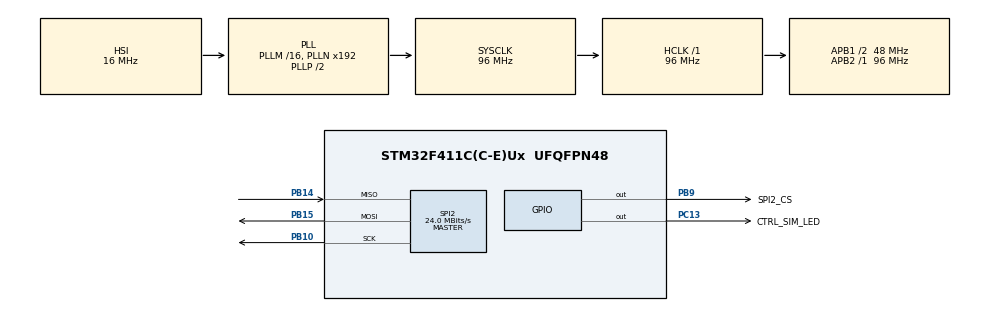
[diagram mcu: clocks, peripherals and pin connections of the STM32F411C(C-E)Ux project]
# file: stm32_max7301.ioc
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Mcu.Family=STM32F4
Mcu.Name=STM32F411C(C-E)Ux
Mcu.Package=UFQFPN48
NVIC.PriorityGroup=NVIC_PRIORITYGROUP_4
PA13.Mode=Serial_Wire
PA13.Signal=SYS_JTMS-SWDIO
PA14.Mode=Serial_Wire
PA14.Signal=SYS_JTCK-SWCLK
PB10.Mode=Full_Duplex_Master
PB10.Signal=SPI2_SCK
PB14.Mode=Full_Duplex_Master
PB14.Signal=SPI2_MISO
PB15.Mode=Full_Duplex_Master
PB15.Signal=SPI2_MOSI
PB9.GPIO_Label=SPI2_CS
PB9.GPIO_PuPd=GPIO_PULLUP
PB9.PinState=GPIO_PIN_SET
PB9.Signal=GPIO_Output
PC13-ANTI_TAMP.GPIO_Label=CTRL_SIM_LED
PC13-ANTI_TAMP.Signal=GPIO_Output
PC14-OSC32_IN.Mode=LSE-External-Oscillator
PC14-OSC32_IN.Signal=RCC_OSC32_IN
PC15-OSC32_OUT.Mode=LSE-External-Oscillator
PC15-OSC32_OUT.Signal=RCC_OSC32_OUT
PH0\ -\ OSC_IN.Mode=HSE-External-Oscillator
PH0\ -\ OSC_IN.Signal=RCC_OSC_IN
PH1\ -\ OSC_OUT.Mode=HSE-External-Oscillator
PH1\ -\ OSC_OUT.Signal=RCC_OSC_OUT
ProjectManager.HeapSize=0x200
ProjectManager.StackSize=0x400
ProjectManager.TargetToolchain=EWARM V8.50
RCC.AHBFreq_Value=96000000
RCC.APB1CLKDivider=RCC_HCLK_DIV2
RCC.APB1Freq_Value=48000000
RCC.APB1TimFreq_Value=96000000
RCC.APB2Freq_Value=96000000
RCC.APB2TimFreq_Value=96000000
RCC.CortexFreq_Value=96000000
RCC.HCLKFreq_Value=96000000
RCC.HSE_VALUE=25000000
RCC.HSI_VALUE=16000000
RCC.SYSCLKFreq_VALUE=96000000
RCC.SYSCLKSource=RCC_SYSCLKSOURCE_PLLCLK
RCC.VCOOutputFreq_Value=192000000
SPI2.BaudRatePrescaler=SPI_BAUDRATEPRESCALER_2
SPI2.CLKPolarity=SPI_POLARITY_LOW
SPI2.CalculateBaudRate=24.0 MBits/s
SPI2.Direction=SPI_DIRECTION_2LINES
SPI2.Mode=SPI_MODE_MASTER
SPI2.VirtualType=VM_MASTER
board=custom

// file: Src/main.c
/* USER CODE BEGIN Header */
/**
  ******************************************************************************
  * @file           : main.c
  * @brief          : Main program body
  ******************************************************************************
  * @attention
  *
  * Copyright (c) 2022 STMicroelectronics.
  * All rights reserved.
  *
  * This software is licensed under terms that can be found in the LICENSE file
  * in the root directory of this software component.
  * If no LICENSE file comes with this software, it is provided AS-IS.
  *
  ******************************************************************************
  */
/* USER CODE END Header */
#include "main.h"
#include "spi.h"
#include "gpio.h"

/* USER CODE BEGIN Includes */
#include "max7301.h"

/* USER CODE END Includes */

/* USER CODE BEGIN PV */
extern SPI_HandleTypeDef hspi2;

MAX7301_Handle_t max7301Handle =
{
  .spiHandle = &hspi2,
  .csPin = (uint32_t)SPI2_CS_Pin,
  .csPort = SPI2_CS_GPIO_Port
};
/* USER CODE END PV */

void SystemClock_Config(void);

  int main(void)
{
  /* USER CODE BEGIN 1 */
  uint8_t val, i;

  /* USER CODE END 1 */

  /* MCU Configuration--------------------------------------------------------*/

  /* Reset of all peripherals, Initializes the Flash interface and the Systick. */
  HAL_Init();

  /* Configure the system clock */
  SystemClock_Config();

  /* Initialize all configured peripherals */
  MX_GPIO_Init();
  MX_SPI2_Init();
  /* USER CODE BEGIN 2 */

  MAX7301_Init(&max7301Handle, 0);

  if(MAX7301_enable(&max7301Handle))
  {
    Error_Handler();
  }

   for(i = 4; i < 32; i++)
  {
    if( MAX7301_digitalRead(&max7301Handle, i, &val))
    {
      Error_Handler();
    }
  }

  for(i = 4; i < 32; i++)
  {
    if(MAX7301_setPinMode(&max7301Handle, i, MAX7301_GPIO_OUTPUT))
    {
      Error_Handler();
    }
  }

  for(i = 4; i < 32; i++)
  {
    if(MAX7301_getPinMode(&max7301Handle, i, &val))
    {
      Error_Handler();
    }
    if(val != MAX7301_GPIO_OUTPUT)
    {
      Error_Handler();
    }
  }

  for(i = 4; i < 32; i++)
  {
    if( MAX7301_digitalRead(&max7301Handle, i, &val))
    {
      Error_Handler();
    }
  }

  for(i = 4; i < 32; i++)
  {
    if( MAX7301_digitalWrite(&max7301Handle, i, MAX7301_GPIO_HIGH))
    {
      Error_Handler();
    }
    if( MAX7301_digitalRead(&max7301Handle, i, &val))
    {
      Error_Handler();
    }
    if(val != MAX7301_GPIO_HIGH)
    {
      Error_Handler();
    }
  }

  for(i = 4; i < 32; i++)
  {
    if( MAX7301_digitalWrite(&max7301Handle, i, MAX7301_GPIO_LOW))
    {
      Error_Handler();
    }
    if( MAX7301_digitalRead(&max7301Handle, i, &val))
    {
      Error_Handler();
    }
    if(val != MAX7301_GPIO_LOW)
    {
      Error_Handler();
    }
  }

  for(i = 4; i < 32; i++)
  {
    if(MAX7301_setPinMode(&max7301Handle, i, MAX7301_GPIO_INPUT))
    {
      Error_Handler();
    }
  }

  for(i = 4; i < 32; i++)
  {
    if(MAX7301_getPinMode(&max7301Handle, i, &val))
    {
      Error_Handler();
    }
    if(val != MAX7301_GPIO_INPUT)
    {
      Error_Handler();
    }
  }

  if(MAX7301_disable(&max7301Handle))
  {
    Error_Handler();
  }

  /* USER CODE END 2 */

  /* Infinite loop */
  while (1)
  {

    /* USER CODE BEGIN 3 */
    HAL_GPIO_TogglePin(CTRL_SIM_LED_GPIO_Port, CTRL_SIM_LED_Pin);
    HAL_Delay(1000);
  }
  /* USER CODE END 3 */
}

void SystemClock_Config(void)
{
  RCC_OscInitTypeDef RCC_OscInitStruct = {0};
  RCC_ClkInitTypeDef RCC_ClkInitStruct = {0};

  /** Configure the main internal regulator output voltage
  */
  __HAL_RCC_PWR_CLK_ENABLE();
  __HAL_PWR_VOLTAGESCALING_CONFIG(PWR_REGULATOR_VOLTAGE_SCALE1);

  /** Initializes the RCC Oscillators according to the specified parameters
  * in the RCC_OscInitTypeDef structure.
  */
  RCC_OscInitStruct.OscillatorType = RCC_OSCILLATORTYPE_HSI;
  RCC_OscInitStruct.HSIState = RCC_HSI_ON;
  RCC_OscInitStruct.HSICalibrationValue = RCC_HSICALIBRATION_DEFAULT;
  RCC_OscInitStruct.PLL.PLLState = RCC_PLL_ON;
  RCC_OscInitStruct.PLL.PLLSource = RCC_PLLSOURCE_HSI;
  RCC_OscInitStruct.PLL.PLLM = 16;
  RCC_OscInitStruct.PLL.PLLN = 192;
  RCC_OscInitStruct.PLL.PLLP = RCC_PLLP_DIV2;
  RCC_OscInitStruct.PLL.PLLQ = 4;
  if (HAL_RCC_OscConfig(&RCC_OscInitStruct) != HAL_OK)
  {
    Error_Handler();
  }

  /** Initializes the CPU, AHB and APB buses clocks
  */
  RCC_ClkInitStruct.ClockType = RCC_CLOCKTYPE_HCLK|RCC_CLOCKTYPE_SYSCLK
                              |RCC_CLOCKTYPE_PCLK1|RCC_CLOCKTYPE_PCLK2;
  RCC_ClkInitStruct.SYSCLKSource = RCC_SYSCLKSOURCE_PLLCLK;
  RCC_ClkInitStruct.AHBCLKDivider = RCC_SYSCLK_DIV1;
  RCC_ClkInitStruct.APB1CLKDivider = RCC_HCLK_DIV2;
  RCC_ClkInitStruct.APB2CLKDivider = RCC_HCLK_DIV1;

  if (HAL_RCC_ClockConfig(&RCC_ClkInitStruct, FLASH_LATENCY_3) != HAL_OK)
  {
    Error_Handler();
  }
}

void Error_Handler(void)
{
  __disable_irq();
  while (1)
  {
  }
}
